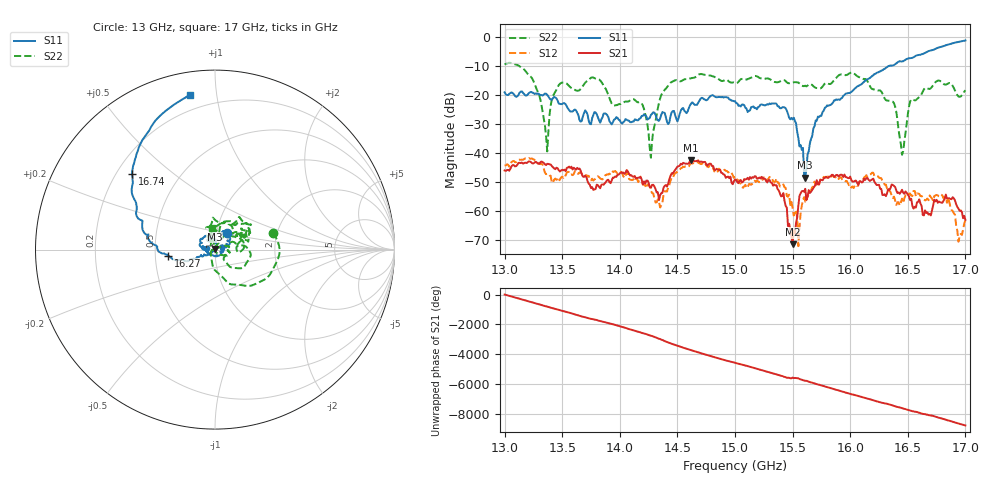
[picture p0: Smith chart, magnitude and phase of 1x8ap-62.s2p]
!Keysight Technologies,P9374A,MY57211807,A.19.30.04
!Date: Friday, May 08, 2026 15:47:21
!Correction: S11(C  2-Port  )
!S21(C  2-Port  )
!S12(C  2-Port  )
!S22(C  2-Port  )
!S2P File: Measurements: S11, S21, S12, S22:
# Hz S  dB  R 50
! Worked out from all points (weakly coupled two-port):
!   401 points, 13 GHz to 17 GHz, reference 50 ohm
!   highest |S21| = -42.40 dB at 14.62 GHz (marker M1); lowest = -71.3 dB at 15.5 GHz (marker M2)
!   lowest |S11| = -48.4 dB at 15.61 GHz (marker M3), VSWR 1.01, Z = 50 + j0.379 ohm
!   |S11| at or under -10 dB: start of sweep to 16.33 GHz
!   |S22| runs from -41.5 to -8.9 dB; largest |S21 - S12| = 0.0031
!   S11 on the Smith chart (normalised r, x): 13 GHz: 1.12, +0.21; 16.27 GHz: 0.58, -0.04; 16.74 GHz: 0.26, +0.36; 17 GHz: 0.12, +0.84
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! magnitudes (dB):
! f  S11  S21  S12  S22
! 13 GHz  -19.0  -45.9  -44.3  -9.4
! 13.24 GHz  -19.1  -43.5  -41.8  -14.3
! 13.36 GHz  -19.5  -44.1  -47.2  -34.1
! 13.47 GHz  -22.9  -45.8  -49.8  -16.5
! 13.67 GHz  -28.8  -47.2  -47.0  -17.4
! 14.18 GHz  -27.9  -48.0  -49.4  -22.5
! 14.27 GHz  -26.8  -51.9  -52.9  -41.5
! 14.34 GHz  -28.8  -56.1  -56.8  -22.6
! 14.62 GHz  -22.8  -42.4  -43.4  -14.2
! 15 GHz  -22.1  -49.0  -47.9  -15.8
! 15.34 GHz  -22.9  -50.7  -49.9  -15.5
! 15.5 GHz  -28.4  -71.3  -58.9  -15.6
! 15.55 GHz  -34.7  -58.0  -72.0  -15.7
! 15.61 GHz  -48.4  -52.2  -56.7  -16.7
! 15.67 GHz  -34.1  -52.6  -51.7  -16.5
! 16.27 GHz  -11.6  -52.3  -48.6  -18.8
! 16.34 GHz  -9.9  -52.7  -52.9  -21.9
! 16.45 GHz  -8.4  -52.6  -55.6  -40.5
! 16.53 GHz  -7.2  -55.6  -54.6  -21.5
! 16.74 GHz  -4.1  -56.6  -54.5  -15.5
! 16.95 GHz  -1.6  -59.8  -68.5  -20.6
! 17 GHz  -1.2  -62.9  -63.1  -18.3
